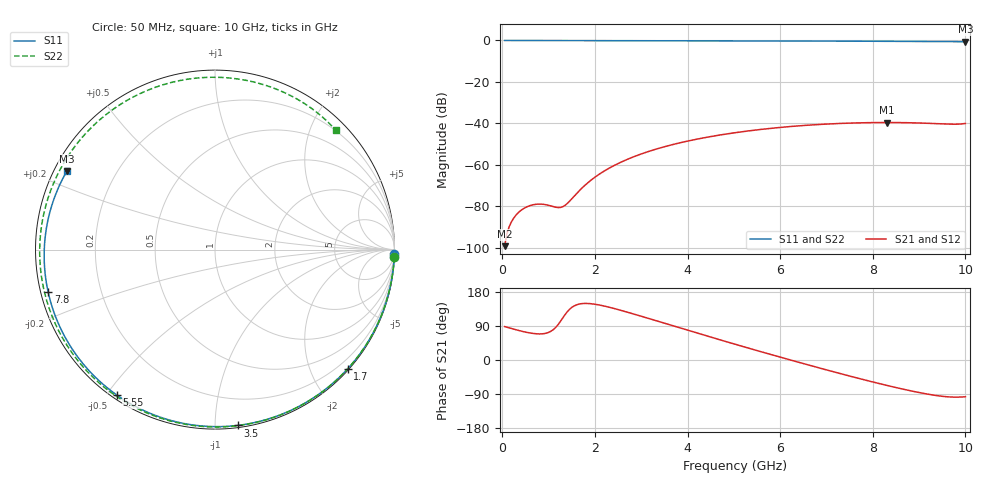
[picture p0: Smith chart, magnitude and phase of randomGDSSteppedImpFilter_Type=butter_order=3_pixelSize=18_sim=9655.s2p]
! freq	dB(S11)	phase(S11)	dB(S12)	phase(S12)
!  dB(S21)	phase(S21)	dB(S22)	phase(S22)
!S-par simulation data
#  GHz  S  DB  R 50
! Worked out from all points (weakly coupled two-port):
!   200 points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, 50 MHz to 10 GHz, reference 50 ohm
!   highest |S21| = -39.56 dB at 8.3 GHz (marker M1); lowest = -99.2 dB at 50 MHz (marker M2)
!   lowest |S11| = -0.6 dB at 10 GHz (marker M3), VSWR 29.31, Z = 1.81 + j12.4 ohm
!   |S11| at or under -10 dB: nowhere
!   |S22| runs from -0.5 to 0.0 dB; largest |S21 - S12| = 0
!   S11 on the Smith chart (normalised r, x): 50 MHz: 0, -90; 1.7 GHz: 0.02, -2.61; 3.5 GHz: 0.01, -1.14; 5.55 GHz: 0.01, -0.53; 7.8 GHz: 0.02, -0.13; 10 GHz: 0.04, +0.25
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0.05  -0.00 -1.3  -99.18 88.2  -99.18 88.2  -0.00 -2.4
0.6  -0.02 -15.0  -79.61 71.3  -79.61 71.3  -0.04 -28.0
0.8  -0.03 -20.0  -78.89 68.8  -78.89 68.8  -0.05 -37.1
1.3  -0.04 -32.3  -80.21 110.0  -80.21 110.0  -0.07 -58.9
1.4  -0.04 -34.7  -78.65 126.9  -78.65 126.9  -0.07 -63.1
1.7  -0.05 -41.9  -71.60 148.5  -71.60 148.5  -0.09 -75.2
1.75  -0.05 -43.1  -70.53 149.1  -70.53 149.1  -0.09 -77.2
2.05  -0.06 -50.2  -65.14 146.1  -65.14 146.1  -0.10 -88.7
2.45  -0.08 -59.5  -59.89 134.8  -59.89 134.8  -0.11 -103.1
2.9  -0.09 -69.6  -55.54 119.1  -55.54 119.1  -0.13 -118.1
3.4  -0.10 -80.6  -51.87 100.8  -51.87 100.8  -0.14 -133.7
3.5  -0.11 -82.7  -51.25 97.1  -51.25 97.1  -0.14 -136.7
4.25  -0.13 -98.4  -47.37 69.5  -47.37 69.5  -0.17 -158.0
5.05  -0.17 -114.3  -44.40 40.7  -44.40 40.7  -0.20 -179.2
5.55  -0.20 -123.9  -42.98 23.2  -42.98 23.2  -0.22 167.9
6.1  -0.23 -134.3  -41.73 4.2  -41.73 4.2  -0.25 153.8
6.7  -0.27 -145.4  -40.70 -16.1  -40.70 -16.1  -0.28 138.4
7.8  -0.36 -165.7  -39.67 -51.8  -39.67 -51.8  -0.33 109.2
8.3  -0.41 -175.0  -39.56 -67.0  -39.56 -67.0  -0.35 95.3
8.35  -0.41 -175.9  -39.56 -68.4  -39.56 -68.4  -0.35 93.9
9.2  -0.50 168.0  -39.94 -90.4  -39.94 -90.4  -0.38 69.2
10  -0.59 152.1  -40.02 -97.1  -40.02 -97.1  -0.48 44.6
